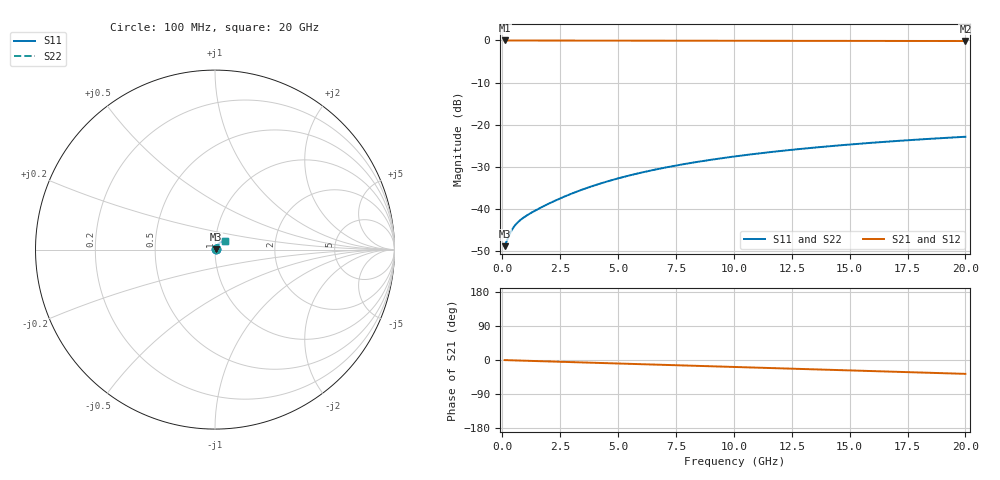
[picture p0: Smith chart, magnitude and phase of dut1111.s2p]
! Touchstone file exported from HFSS 2026.1.0
!  File:  C:/ffzhzh/LocalFiles/Ansys_Project_Files/temp_train_TMRDL_1111_1783161435_22436.aedt
!  Generated:  06:38:22 PM Jul  4, 2026
!  Design:  TMRDL
!  Project:  temp_train_TMRDL_1111_1783161435_22436
! Variables:
!  h_bsmrdl = 2um
!  h_ox = 20um
!  h_rdl = 5um
!  h_sub = 80um
!  h_tmrdl = 2.51um
!  h_tsv = 80um
!  h_via = 3um
!  l_bsmrdl = 300um
!  l_sub = 1033.56um
!  l_tmrdl = 633.56um
!  m_sub = 200um
!  pitch = 34.52um
!  r_tsv = 6um
!  s_tmrdl = 10um
!  w_bsmrdl = 18um
!  w_sub = 500um
!  w_tmrdl = 28.94um
!  x_tsv_center1 = 648.03um
!  x_tsv_center2 = 966.03um
!  x_tsv_center3 = 1628.53um
!  x_tsv_center4 = 1946.53um
!  x_tsv_center5 = 2609.03um
!  x_tsv_center6 = 2927.03um
# GHz S MA R 50.000000
! Terminal data exported
! Port[1] = TM_RDL1_1_T1
! Port[2] = TM_RDL1_1_T2
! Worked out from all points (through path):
!   200 points, 100 MHz to 20 GHz, reference 50 ohm
!   highest |S21| = -0.03 dB at 100 MHz (marker M1); lowest = -0.2 dB at 20 GHz (marker M2)
!   group delay of S21, straight-line fit = 5.07 ps
!   lowest |S11| = -48.8 dB at 100 MHz (marker M3), VSWR 1.01, Z = 50.3 + j0.101 ohm
!   |S11| at or under -10 dB: start of sweep to end of sweep
!   |S22| runs from -48.8 to -22.9 dB; largest |S21 - S12| = 4e-15
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0.1  0.003628 16.0  0.9965 -0.2  0.9965 -0.2  0.003628 16.0
! Gamma 0 0 0 0
! Port Impedance 50 0 50 0
0.3  0.004922 32.2  0.9959 -0.6  0.9959 -0.6  0.004922 32.2
0.4  0.005578 35.1  0.9955 -0.8  0.9955 -0.8  0.005578 35.1
0.5  0.006152 36.8  0.9951 -1.0  0.9951 -1.0  0.006153 36.8
0.6  0.00665 38.0  0.9948 -1.2  0.9948 -1.2  0.00665 38.0
0.7  0.007086 39.1  0.9946 -1.4  0.9946 -1.4  0.007086 39.1
0.9  0.007843 41.1  0.9943 -1.8  0.9943 -1.8  0.007844 41.1
1.1  0.008524 43.2  0.994 -2.1  0.994 -2.1  0.008525 43.2
1.4  0.009512 46.4  0.9938 -2.7  0.9938 -2.7  0.009512 46.4
2.1  0.01191 52.5  0.9934 -4.0  0.9934 -4.0  0.01191 52.5
2.8  0.01449 56.6  0.9931 -5.3  0.9931 -5.3  0.01449 56.6
3.5  0.01718 59.0  0.9928 -6.5  0.9928 -6.5  0.01718 59.0
4.2  0.01992 60.3  0.9924 -7.8  0.9924 -7.8  0.01992 60.3
5  0.02308 61.0  0.992 -9.3  0.992 -9.3  0.02308 61.0
5.9  0.02661 61.0  0.9914 -11.0  0.9914 -11.0  0.02661 61.0
6.8  0.0301 60.5  0.9908 -12.6  0.9908 -12.6  0.0301 60.5
8.4  0.03612 59.0  0.9896 -15.6  0.9896 -15.6  0.03612 58.9
10.1  0.04225 56.7  0.9884 -18.7  0.9884 -18.7  0.04224 56.7
11.7  0.04773 54.4  0.9871 -21.6  0.9871 -21.6  0.04772 54.4
13.4  0.05326 51.7  0.9858 -24.7  0.9858 -24.7  0.05325 51.7
16.7  0.06315 46.4  0.9833 -30.6  0.9833 -30.6  0.06313 46.4
20  0.07195 41.1  0.9811 -36.6  0.9811 -36.6  0.07191 41.0
